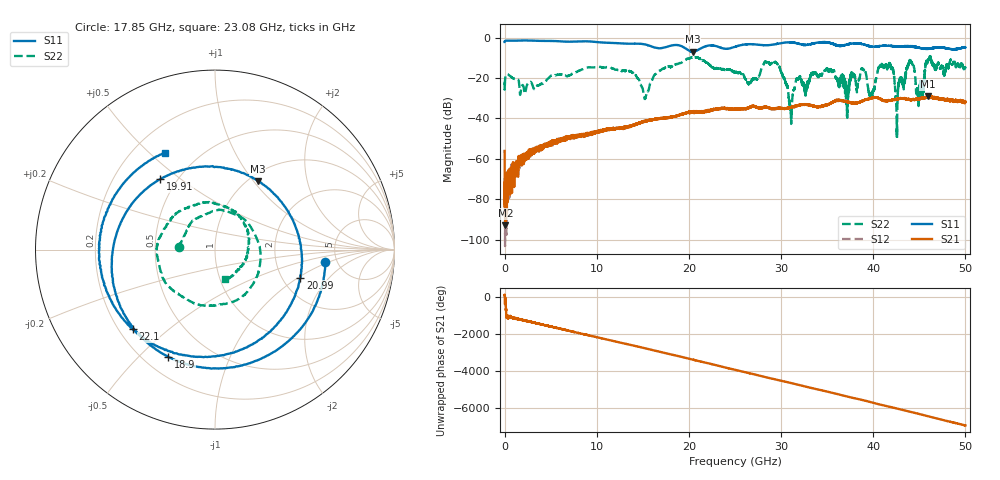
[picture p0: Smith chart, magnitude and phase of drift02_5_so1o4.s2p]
!Created with skrf (http://scikit-rf.org).
# Hz S RI R 50.0
!freq ReS11 ImS11 ReS21 ImS21 ReS12 ImS12 ReS22 ImS22
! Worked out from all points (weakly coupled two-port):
!   10001 points, 300 kHz to 50 GHz, reference 50 ohm
!   highest |S21| = -29.03 dB at 45.89 GHz (marker M1); lowest = -92.9 dB at 85.3 MHz (marker M2)
!   lowest |S11| = -7.0 dB at 20.41 GHz (marker M3), VSWR 2.63, Z = 55 + j52.4 ohm
!   |S11| at or under -10 dB: nowhere
!   |S22| runs from -49.8 to -9.1 dB; largest |S21 - S12| = 0.0033
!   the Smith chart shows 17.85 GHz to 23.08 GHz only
!   S11 on the Smith chart (normalised r, x): 17.85 GHz: 4.02, -0.91; 18.9 GHz: 0.30, -0.62; 19.91 GHz: 0.41, +0.42; 20.99 GHz: 2.50, -1.04; 22.1 GHz: 0.25, -0.38; 23.08 GHz: 0.33, +0.56
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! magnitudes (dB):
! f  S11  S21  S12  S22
! 300 kHz  -2.1  -56.1  -69.7  -21.8
! 85.3 MHz  -1.5  -92.9  -72.1  -19.1
! 8.335 GHz  -1.7  -48.1  -48.3  -15.8
! 15.31 GHz  -3.4  -41.3  -41.2  -29.3
! 16.67 GHz  -5.2  -40.0  -40.1  -16.8
! 17.85 GHz  -4.2  -39.4  -39.5  -14.0
! 18.9 GHz  -3.7  -38.4  -38.5  -12.7
! 19.91 GHz  -6.1  -37.1  -37.0  -10.3
! 20.41 GHz  -7.0  -36.7  -36.7  -10.0
! 20.99 GHz  -6.0  -37.1  -36.7  -9.9
! 22.1 GHz  -3.9  -36.3  -36.4  -12.8
! 23.08 GHz  -4.3  -35.2  -35.4  -15.2
! 25 GHz  -4.5  -35.2  -35.4  -17.3
! 29.5 GHz  -3.1  -35.1  -35.1  -12.5
! 31.03 GHz  -2.3  -34.5  -34.9  -36.9
! 33.34 GHz  -3.0  -33.5  -33.6  -18.1
! 38.91 GHz  -3.2  -31.2  -31.3  -15.8
! 39.73 GHz  -4.3  -30.1  -30.0  -29.6
! 41.67 GHz  -4.0  -31.2  -31.0  -13.4
! 42.56 GHz  -4.2  -30.4  -30.3  -47.7
! 45.89 GHz  -5.4  -29.0  -29.6  -11.6
! 50 GHz  -4.7  -31.8  -31.8  -15.0
